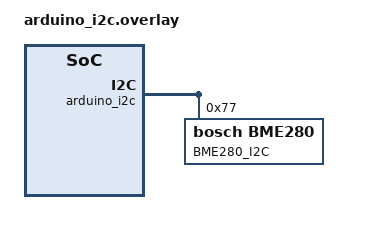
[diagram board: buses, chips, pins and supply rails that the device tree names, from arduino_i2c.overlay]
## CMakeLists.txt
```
# SPDX-License-Identifier: Apache-2.0

cmake_minimum_required(VERSION 3.13.1)
find_package(Zephyr REQUIRED HINTS $ENV{ZEPHYR_BASE})
project(bme280)

FILE(GLOB app_sources src/*.c)
target_sources(app PRIVATE ${app_sources})
```

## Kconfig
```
# Copyright (c) 2020, Nordic Semiconductor ASA
# SPDX-License-Identifier: Apache-2.0

config LOG
	default y

config LOG_PRINTK
	default y

config SENSOR_LOG_LEVEL
	default 4

# Enable SPI and I2C support by default so that the sample works with
# the device connected either way. These defaults can be overridden if
# needed.
config SPI
	default y

config I2C
	default y

source "Kconfig.zephyr"
```

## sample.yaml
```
sample:
  name: BME280 Sensor sample
tests:
  sample.sensor.bme280:
    harness: console
    tags: sensors
    platform_allow: adafruit_feather_m0_basic_proto
    integration_platforms:
      - adafruit_feather_m0_basic_proto
    harness_config:
        type: one_line
        regex:
            - "temp: (.*); press: (.*); humidity: (.*)"
        fixture: fixture_i2c_bme280
  sample.sensor.bme280.spi:
    harness: console
    tags: sensors
    depends_on: spi bme280
    extra_args: "DTC_OVERLAY_FILE=arduino_spi.overlay"
    harness_config:
        type: one_line
        regex:
            - "temp: (.*); press: (.*); humidity: (.*)"
        fixture: fixture_spi_bme280
```

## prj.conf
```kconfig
CONFIG_SENSOR=y
CONFIG_BME280=y
```

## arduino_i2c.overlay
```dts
/*
 * Copyright (c) 2020, Nordic Semiconductor ASA
 *
 * SPDX-License-Identifier: Apache-2.0
 */

/*
 * Example configuration of a BME280 device on an Arduino I2C bus.
 *
 * Device address 0x77 is assumed. Your device may have a different
 * address; check your device documentation if unsure.
 */
&arduino_i2c {
	status = "okay";
	bme280@77 {
		compatible = "bosch,bme280";
		reg = <0x77>;
		label = "BME280_I2C";
	};
};
```

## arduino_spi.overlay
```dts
/*
 * Copyright (c) 2020, Nordic Semiconductor ASA
 *
 * SPDX-License-Identifier: Apache-2.0
 */

/* Example configuration of a BME280 device on an Arduino SPI bus. */

&arduino_spi {
	status = "okay";
	cs-gpios = <&arduino_header 16 GPIO_ACTIVE_LOW>;
	bme280@0 {
		compatible = "bosch,bme280";
		reg = <0>;
		label = "BME280_SPI";
		spi-max-frequency = <1000000>; /* conservatively set to 1MHz */
	};
};
```

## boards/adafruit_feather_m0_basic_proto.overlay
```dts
/*
 * Copyright (c) 2020 Jacek Ozimek <jacek.ozmk@gmail.com>
 *
 * SPDX-License-Identifier: Apache-2.0
 */

&feather_i2c {
	bme280: bme280@76 {
		/* 0x76 - SDO <-> GND */
		/* 0x77 - SDO <-> VCC */
		compatible = "bosch,bme280";
		reg = <0x76>;
		label = "ENVIRONMENTAL_SENSOR";
	};
};
```

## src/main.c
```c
/*
 * Copyright (c) 2012-2014 Wind River Systems, Inc.
 * Copyright (c) 2021 Nordic Semiconductor ASA
 *
 * SPDX-License-Identifier: Apache-2.0
 */

#include <zephyr.h>
#include <device.h>
#include <devicetree.h>
#include <drivers/sensor.h>

/*
 * Get a device structure from a devicetree node with compatible
 * "bosch,bme280". (If there are multiple, just pick one.)
 */
static const struct device *get_bme280_device(void)
{
	const struct device *dev = DEVICE_DT_GET_ANY(bosch_bme280);

	if (dev == NULL) {
		/* No such node, or the node does not have status "okay". */
		printk("\nError: no device found.\n");
		return NULL;
	}

	if (!device_is_ready(dev)) {
		printk("\nError: Device \"%s\" is not ready; "
		       "check the driver initialization logs for errors.\n",
		       dev->name);
		return NULL;
	}

	printk("Found device \"%s\", getting sensor data\n", dev->name);
	return dev;
}

void main(void)
{
	const struct device *dev = get_bme280_device();

	if (dev == NULL) {
		return;
	}

	while (1) {
		struct sensor_value temp, press, humidity;

		sensor_sample_fetch(dev);
		sensor_channel_get(dev, SENSOR_CHAN_AMBIENT_TEMP, &temp);
		sensor_channel_get(dev, SENSOR_CHAN_PRESS, &press);
		sensor_channel_get(dev, SENSOR_CHAN_HUMIDITY, &humidity);

		printk("temp: %d.%06d; press: %d.%06d; humidity: %d.%06d\n",
		      temp.val1, temp.val2, press.val1, press.val2,
		      humidity.val1, humidity.val2);

		k_sleep(K_MSEC(1000));
	}
}
```
